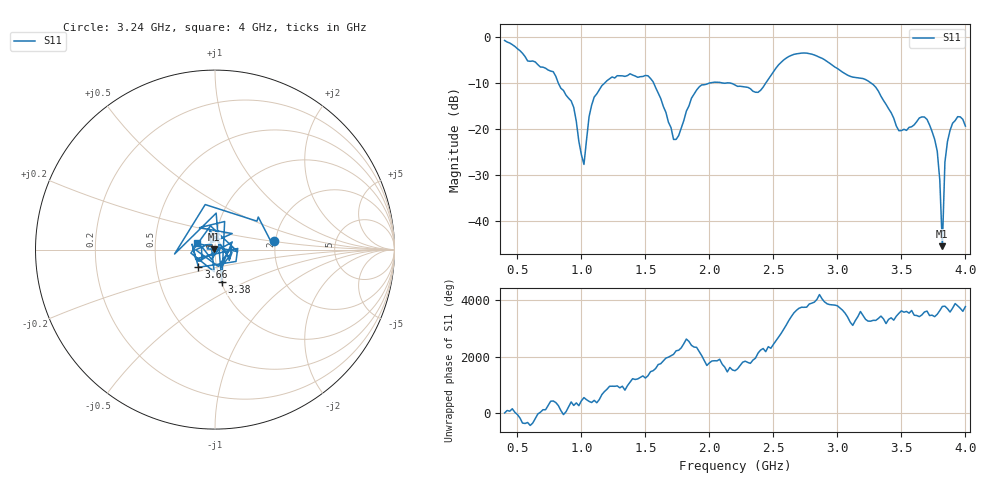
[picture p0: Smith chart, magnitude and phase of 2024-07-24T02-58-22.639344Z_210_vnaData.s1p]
!Created with skrf (http://scikit-rf.org).
# Hz S RI R 50.0
!freq ReS11 ImS11
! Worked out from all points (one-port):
!   181 points, 400 MHz to 4 GHz, reference 50 ohm
!   lowest |S11| = -45.4 dB at 3.82 GHz (marker M1), VSWR 1.01, Z = 49.5 + j0.135 ohm
!   |S11| at or under -10 dB: 818.4 MHz to 1.184 GHz (365.9 MHz wide, 36.5 % of centre); 1.564 GHz to 2.014 GHz (450 MHz wide, 25.2 % of centre); 3.259 GHz to end of sweep (the widest 3 of 4)
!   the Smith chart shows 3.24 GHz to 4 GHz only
!   S11 on the Smith chart (normalised r, x): 3.24 GHz: 1.96, +0.21; 3.38 GHz: 1.01, -0.38; 3.66 GHz: 0.82, -0.16; 4 GHz: 0.81, +0.06
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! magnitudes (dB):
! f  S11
! 400 MHz  -0.8
! 780 MHz  -7.6
! 860 MHz  -11.7
! 940 MHz  -15.3
! 1.02 GHz  -27.7
! 1.06 GHz  -17.3
! 1.1 GHz  -13.1
! 1.3 GHz  -8.5
! 1.52 GHz  -8.5
! 1.72 GHz  -22.3
! 1.76 GHz  -21.5
! 1.92 GHz  -10.9
! 2.2 GHz  -10.5
! 2.38 GHz  -12.1
! 2.66 GHz  -3.8
! 3.1 GHz  -8.6
! 3.24 GHz  -9.6
! 3.38 GHz  -14.7
! 3.48 GHz  -20.4
! 3.56 GHz  -19.7
! 3.66 GHz  -17.4
! 3.78 GHz  -24.8
! 3.8 GHz  -31.1
! 3.82 GHz  -45.4
! 3.84 GHz  -27.2
! 3.86 GHz  -22.7
! 3.94 GHz  -17.4
! 4 GHz  -19.4
